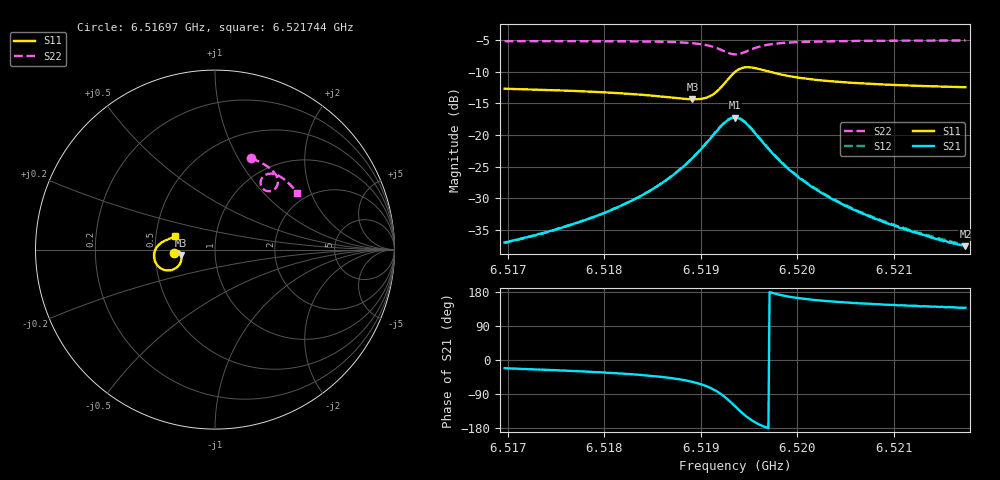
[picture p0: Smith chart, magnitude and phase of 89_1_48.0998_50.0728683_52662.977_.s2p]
#  HZ  S  RI  R  50.00
! Rohde & Schwarz Vector Network Analyzer
! Rohde-Schwarz,ZNB20-2Port,1311601062101988,3.16
! Created: UTC 12/23/2023, 3:43:33 AM
! freq[Hz]  re:S11  im:S11  re:S21  im:S21  re:S12  im:S12  re:S22  im:S22
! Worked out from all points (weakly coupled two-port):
!   401 points, 6.51697 GHz to 6.521744 GHz, reference 50 ohm
!   highest |S21| = -17.28 dB at 6.519357 GHz (marker M1); lowest = -37.6 dB at 6.521744 GHz (marker M2)
!   lowest |S11| = -14.4 dB at 6.518915 GHz (marker M3), VSWR 1.47, Z = 34.1 - j2.32 ohm
!   |S11| at or under -10 dB: start of sweep to 6.519363 GHz; 6.519704 GHz to end of sweep
!   |S22| runs from -7.3 to -5.1 dB; largest |S21 - S12| = 0.0042
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6.5169696e9  -0.2307 -0.0178  0.0132 -0.00515  0.0132 -0.00485  0.2014 0.51
6.5173873e9  -0.2262 -0.0117  0.0153 -0.00736  0.0155 -0.00681  0.2323 0.4972
6.5177693e9  -0.2209 -0.00728  0.018 -0.0105  0.0184 -0.00997  0.2604 0.483
6.5181632e9  -0.2131 -0.00512  0.0222 -0.0159  0.0228 -0.0151  0.2901 0.4648
6.518378e9  -0.2076 -0.00612  0.0255 -0.0208  0.0261 -0.0201  0.3066 0.4522
6.518569e9  -0.2014 -0.00963  0.0289 -0.0278  0.0299 -0.027  0.3215 0.439
6.5187361e9  -0.1949 -0.0168  0.0324 -0.0374  0.0338 -0.0365  0.3345 0.4236
6.5189152e9  -0.1881 -0.0327  0.035 -0.0553  0.0369 -0.0545  0.3468 0.4002
6.5190345e9  -0.1869 -0.0527  0.0326 -0.075  0.035 -0.0745  0.3505 0.3777
6.51913e9  -0.1942 -0.0767  0.0221 -0.0967  0.0252 -0.0968  0.3456 0.3549
6.5192613e9  -0.2367 -0.1125  -0.0212 -0.1252  -0.0177 -0.1267  0.3127 0.3265
6.5193568e9  -0.2941 -0.1087  -0.0724 -0.1159  -0.0696 -0.119  0.2732 0.3338
6.5194046e9  -0.3189 -0.0901  -0.0926 -0.0972  -0.0905 -0.1005  0.2596 0.3499
6.5194642e9  -0.3364 -0.059  -0.1046 -0.068  -0.1034 -0.0716  0.2543 0.3739
6.5195597e9  -0.3368 -0.0137  -0.1 -0.0292  -0.1 -0.0323  0.2662 0.4041
6.5196672e9  -0.3211 0.0176  -0.0833 -0.00481  -0.0837 -0.00737  0.289 0.4194
6.5199059e9  -0.2886 0.0448  -0.0529 0.0117  -0.0538 0.0101  0.3304 0.4208
6.5201566e9  -0.2685 0.0542  -0.0361 0.0137  -0.0371 0.0129  0.3591 0.4094
6.5205146e9  -0.2519 0.061  -0.0241 0.013  -0.0247 0.0124  0.3887 0.3893
6.5209563e9  -0.2395 0.0677  -0.0163 0.0113  -0.0169 0.0108  0.4174 0.3634
6.5214218e9  -0.23 0.074  -0.0118 0.00968  -0.0124 0.00962  0.4427 0.335
6.5217441e9  -0.2246 0.0784  -0.00983 0.00887  -0.0102 0.00887  0.4585 0.3149
